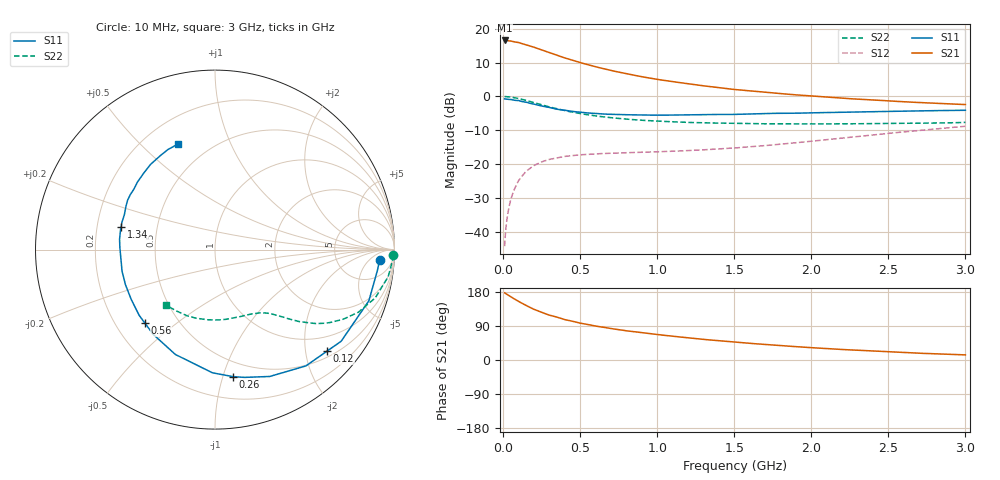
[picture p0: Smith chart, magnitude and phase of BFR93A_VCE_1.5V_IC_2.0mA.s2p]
! Infineon Technologies  Discrete & RF Semiconductors
! BFR93A
! VCE =  1.5 V,  IC =  2.0 mA
! Common Emitter S-Parameters:  Nov 2015
# GHz  S  MA  R  50
!  f  S11  S21  S12  S22
! GHz  MAG  ANG  MAG  ANG  MAG  ANG  MAG  ANG
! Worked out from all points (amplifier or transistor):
!   180 points, 10 MHz to 3 GHz, reference 50 ohm
!   highest |S21| = 16.5 dB at 10 MHz (marker M1)
!   |S21| within 3 dB of that: start of sweep to 263.8 MHz
!   unconditionally stable (mu >= 1): 964.3 MHz to end of sweep
!   at 160 MHz: K = 0.20, MSG = 18.4 dB, |S12| = -21.8 dB
!   at 1.22 GHz: K = 1.14, MAG = 7.5 dB, |S12| = -16.0 dB
!   at 3 GHz: K = 1.02, MAG = 2.4 dB, |S12| = -8.8 dB
!   S11 on the Smith chart (normalised r, x): 10 MHz: 15, -11; 120 MHz: 0.63, -2.45; 260 MHz: 0.37, -1.08; 560 MHz: 0.32, -0.39; 1.34 GHz: 0.30, +0.11; 3 GHz: 0.34, +0.65
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0.01  0.9187 -3.7  6.707 177.2  0.0061 87.8  0.9942 -1.8
0.015  0.915 -5.5  6.704 175.9  0.0091 85.4  0.9923 -2.6
0.025  0.9085 -9.1  6.676 173.2  0.0151 82.7  0.9877 -4.4
0.045  0.9026 -16.5  6.594 167.9  0.0269 79.9  0.9783 -8.0
0.1  0.8688 -36.0  6.257 154.6  0.0565 69.8  0.9324 -16.8
0.12  0.8424 -42.2  6.045 150.3  0.065 65.7  0.9066 -19.4
0.15  0.8224 -52.0  5.795 143.4  0.0781 61.2  0.8716 -23.6
0.2  0.7697 -66.7  5.337 133.8  0.0949 54.7  0.8094 -28.8
0.26  0.715 -81.9  4.781 124.0  0.1093 48.1  0.7391 -33.7
0.3  0.6865 -91.2  4.449 118.4  0.1169 44.8  0.698 -36.2
0.4  0.6246 -110.7  3.705 106.6  0.1295 38.7  0.6142 -40.7
0.52  0.5771 -128.6  3.068 95.9  0.1376 34.5  0.5469 -44.1
0.56  0.5659 -133.7  2.899 92.9  0.1394 33.6  0.5299 -45.0
0.6  0.5593 -139.0  2.739 89.6  0.1412 32.8  0.5131 -46.0
0.72  0.5403 -151.3  2.361 81.8  0.145 31.9  0.4786 -48.6
0.8  0.5357 -158.7  2.16 77.1  0.1468 31.8  0.4606 -50.3
1.02  0.5271 -175.2  1.755 66.3  0.1522 33.2  0.4287 -55.5
1.34  0.5384 166.4  1.398 53.0  0.164 37.9  0.4048 -64.7
1.52  0.5428 158.0  1.253 46.6  0.1738 41.0  0.3975 -70.7
2.02  0.5728 139.0  1.005 32.1  0.2193 47.5  0.392 -89.2
2.52  0.5999 123.4  0.853 21.4  0.2867 48.1  0.3977 -109.6
3  0.6227 109.6  0.757 13.5  0.3612 44.2  0.412 -131.2
